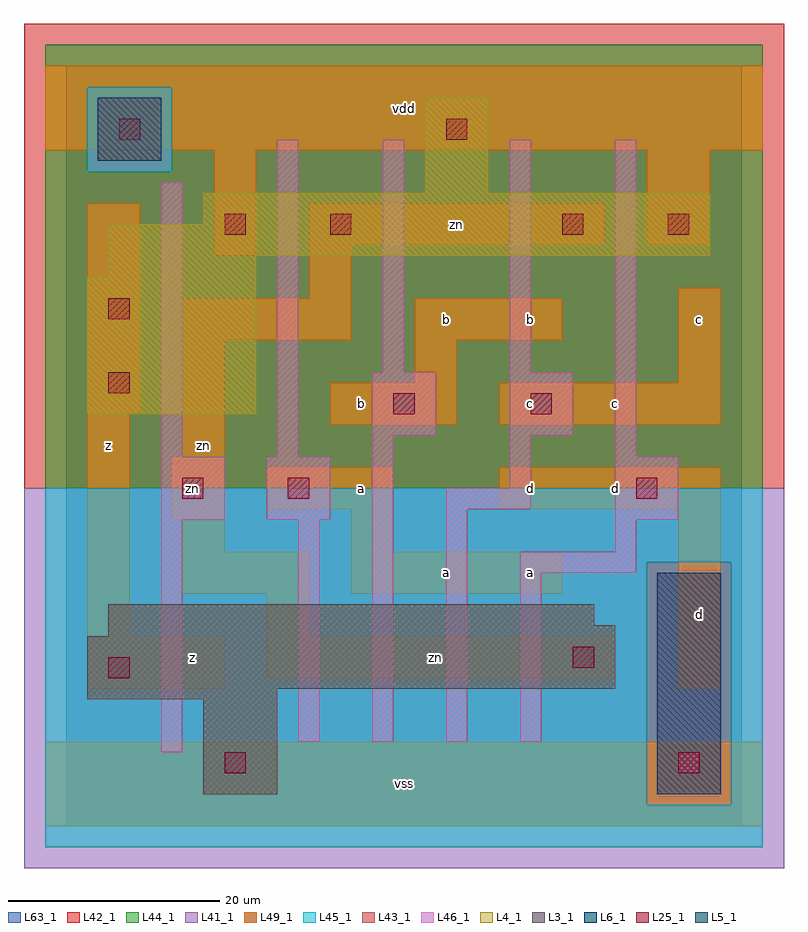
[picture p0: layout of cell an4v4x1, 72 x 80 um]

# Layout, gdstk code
import gdstk
lib = gdstk.Library(unit=1e-6, precision=1e-09)
def R(c, l, rs):  # rectangles x0, y0, x1, y1
    for r in rs: c.add(gdstk.rectangle(r[:2], r[2:], *l))
L3_1 = (3, 1)
L4_1 = (4, 1)
L5_1 = (5, 1)
L6_1 = (6, 1)
L25_1 = (25, 1)
L41_1 = (41, 1)
L42_1 = (42, 1)
L43_1 = (43, 1)
L44_1 = (44, 1)
L45_1 = (45, 1)
L46_1 = (46, 1)
L49_1 = (49, 1)
L63_1 = (63, 1)

an4v4x1 = lib.new_cell('an4v4x1')
R(an4v4x1, L3_1, [(13,3,20,12), (2,12,20,13), (2,13,52,18), (4,18,52,19), (4,19,50,21)])
R(an4v4x1, L4_1, [(2,39,18,52), (4,52,18,54), (4,54,61,57), (13,57,61,60), (34,60,40,69)])
R(an4v4x1, L5_1, [(3,63,9,69)])
R(an4v4x1, L6_1, [(56,3,62,24), (56,3,62,24)])
R(an4v4x1, L25_1, [(15,5,17,7), (58,5,60,7), (4,14,6,16), (48,15,50,17), (11,31,13,33), (21,31,23,33), (54,31,56,33), (31,39,33,41), (44,39,46,41), (4,41,6,43), (4,48,6,50), (15,56,17,58), (25,56,27,58), (47,56,49,58), (57,56,59,58), (5,65,7,67), (36,65,38,67)])
R(an4v4x1, L41_1, [(-4,-4,68,32)])
R(an4v4x1, L42_1, [(-4,32,68,76)])
R(an4v4x1, L43_1, [(13,3,20,12), (56,3,62,24), (2,12,20,13), (2,13,52,18), (4,18,52,19), (4,19,50,21), (2,39,18,52), (4,52,18,54), (4,54,61,57), (13,57,61,60), (34,60,40,69), (3,63,9,69)])
R(an4v4x1, L44_1, [(55,2,63,25), (-2,32,66,62), (-2,62,2,70), (10,62,66,70), (-2,70,66,74)])
R(an4v4x1, L45_1, [(-2,-2,66,2), (-2,2,55,25), (63,2,66,25), (-2,25,66,32), (2,62,10,70)])
R(an4v4x1, L46_1, [(9,7,11,29), (22,8,24,29), (29,8,31,37), (36,8,38,30), (43,8,45,24), (43,24,54,26), (52,26,54,29), (9,29,15,35), (19,29,25,35), (52,29,58,35), (36,30,44,32), (42,32,44,37), (9,35,11,61), (20,35,22,65), (52,35,54,65), (29,37,35,43), (42,37,48,43), (30,43,32,65), (42,43,44,65)])
R(an4v4x1, L49_1, [(-2,0,66,8), (2,13,15,18), (58,13,62,30), (19,14,52,18), (2,18,6,39), (19,18,23,22), (11,22,23,26), (27,22,47,26), (11,26,15,29), (27,26,31,30), (10,29,15,35), (19,30,31,34), (41,30,62,34), (11,35,15,46), (25,38,37,42), (41,38,62,42), (2,39,7,59), (33,42,37,46), (58,42,62,51), (11,46,27,50), (33,46,47,50), (23,50,27,55), (14,54,18,64), (23,55,51,59), (55,55,61,64), (-2,64,66,72)])
R(an4v4x1, L63_1, [(0,0,64,72)])
an4v4x1.add(gdstk.Label('zn', (12,32), layer=49, texttype=1))
an4v4x1.add(gdstk.Label('z', (4,36), layer=49, texttype=1))
an4v4x1.add(gdstk.Label('z', (12,16), layer=49, texttype=1))
an4v4x1.add(gdstk.Label('zn', (13,36), layer=49, texttype=1))
an4v4x1.add(gdstk.Label('vss', (32,4), layer=49, texttype=1))
an4v4x1.add(gdstk.Label('a', (36,24), layer=49, texttype=1))
an4v4x1.add(gdstk.Label('a', (28,32), layer=49, texttype=1))
an4v4x1.add(gdstk.Label('b', (28,40), layer=49, texttype=1))
an4v4x1.add(gdstk.Label('b', (36,48), layer=49, texttype=1))
an4v4x1.add(gdstk.Label('vdd', (32,68), layer=49, texttype=1))
an4v4x1.add(gdstk.Label('zn', (35,16), layer=49, texttype=1))
an4v4x1.add(gdstk.Label('a', (44,24), layer=49, texttype=1))
an4v4x1.add(gdstk.Label('d', (44,32), layer=49, texttype=1))
an4v4x1.add(gdstk.Label('c', (44,40), layer=49, texttype=1))
an4v4x1.add(gdstk.Label('b', (44,48), layer=49, texttype=1))
an4v4x1.add(gdstk.Label('zn', (37,57), layer=49, texttype=1))
an4v4x1.add(gdstk.Label('d', (60,20), layer=49, texttype=1))
an4v4x1.add(gdstk.Label('d', (52,32), layer=49, texttype=1))
an4v4x1.add(gdstk.Label('c', (52,40), layer=49, texttype=1))
an4v4x1.add(gdstk.Label('c', (60,48), layer=49, texttype=1))

lib.write_gds('an4v4x1.gds')
